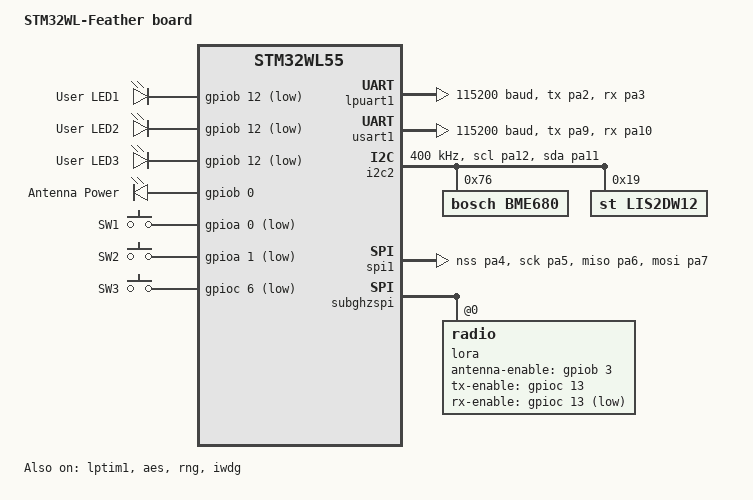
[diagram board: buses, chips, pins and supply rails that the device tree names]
/*
 * Copyright (c) 2021 PureEngineering, LLC
 *
 */

/dts-v1/;
#include <st/wl/stm32wl55Xc.dtsi>
#include <st/wl/stm32wl55ccux-pinctrl.dtsi>

/ {
	model = "STM32WL-Feather board";
	compatible = "st,stm32wl55-nucleo";

	chosen {
		zephyr,console = &lpuart1;        // Changed to lpuart for debugging purposes
		zephyr,shell-uart = &lpuart1;    // Changed to lpuart for debugging purposes
		zephyr,sram = &sram0;
		zephyr,flash = &flash0;
		zephyr,code-partition = &flash0;
	};

	leds {
		compatible = "gpio-leds";
		blue_led_1: led_0 {
			gpios = <&gpiob 12 GPIO_ACTIVE_LOW>;
			label = "User LED1";
		};
		green_led_2: led_1 {
			gpios = <&gpiob 12 GPIO_ACTIVE_LOW>;
			label = "User LED2";
		};
		green_led_3: led_2 {
			gpios = <&gpiob 12 GPIO_ACTIVE_LOW>;
			label = "User LED3";
		};

		/*
		 * Added antenna_pwr as an LED as an easy way to drive this pin high.  This pin is what turns on the antenna switch and therefore allowing operation.
		 * This is a workaround for now as it should really be defind inthe radio0 device definition however for some reason it is not driving this pin high
		 * when defining in antenna-enable-gpios so we are doing it manually here for now.
		 */
		antenna_pwr: ant_pwr {
			gpios = <&gpiob 0 GPIO_ACTIVE_HIGH>;
			label = "Antenna Power";
		};
	};

	gpio_keys {
		compatible = "gpio-keys";
		user_button_1: button_0 {
			label = "SW1";
			gpios = <&gpioa 0 (GPIO_ACTIVE_LOW | GPIO_PULL_UP)>;
		};
		user_button_2: button_1 {
			label = "SW2";
			gpios = <&gpioa 1 (GPIO_ACTIVE_LOW | GPIO_PULL_UP)>;
		};
		user_button_3: button_2 {
			label = "SW3";
			gpios = <&gpioc 6 (GPIO_ACTIVE_LOW | GPIO_PULL_UP)>;
		};
	};

	aliases {
		led0 = &green_led_2;
		system-led = &green_led_2;
		sw0 = &user_button_1;
		sw1 = &user_button_2;
		sw2 = &user_button_3;
		lora0 = &lora;
		// uart = &usart1;
		rpc-uart = &usart1;
		ant-pwr = &antenna_pwr;  // alias for antenna power control
	};

	// Remove power states for now for debugging and can bring back later
	// power-states {
		//     stop0: state0 {
			//         compatible = "zephyr,power-state";
			//         power-state-name = "suspend-to-idle";
			//         substate-id = <1>;
			//         min-residency-us = <100>;
		//     };
		//     stop1: state1 {
			//         compatible = "zephyr,power-state";
			//         power-state-name = "suspend-to-idle";
			//         substate-id = <2>;
			//         min-residency-us = <500>;
		//     };
		//     stop2: state2 {
			//         compatible = "zephyr,power-state";
			//         power-state-name = "suspend-to-idle";
			//         substate-id = <3>;
			//         min-residency-us = <900>;
		//     };
	// };
};

// &cpu0 {
	//     cpu-power-states = <&stop0 &stop1 &stop2>;
// };

&lptim1 {
	status = "okay";
};

&clk_hsi {
	status = "okay";
};

&pll {
	div-m = <1>;
	mul-n = <6>;
	div-r = <2>;
	div-q = <2>;
	clocks = <&clk_hsi>;
	status = "okay";
};

&rcc {
	clocks = <&pll>;
	clock-frequency = <DT_FREQ_M(48)>;
	cpu1-prescaler = <1>;
	cpu2-prescaler = <1>;
	ahb3-prescaler = <1>;
	apb1-prescaler = <1>;
	apb2-prescaler = <1>;
};

&lpuart1 {
	pinctrl-0 = <&lpuart1_tx_pa2 &lpuart1_rx_pa3>;
	pinctrl-names = "default";
	current-speed = <115200>;
	status = "okay";
};

&usart1 {
	pinctrl-0 = <&usart1_tx_pa9 &usart1_rx_pa10>;
	pinctrl-names = "default";
	current-speed = <115200>;
	status = "okay";
};

&i2c2 {
	pinctrl-0 = <&i2c2_scl_pa12 &i2c2_sda_pa11>;
	pinctrl-names = "default";
	status = "okay";
	clock-frequency = <I2C_BITRATE_FAST>;

	bme680: bme680@76 {
		compatible = "bosch,bme680";
		reg = <0x76>;
		// label = "BME680";
		status = "okay";
	};
	lis2dw12: lis2dw12@19 {
		compatible = "st,lis2dw12";
		reg = <0x19>;
		// label = "LIS2DW12";
		status = "okay";
	};

};

&spi1 {
	pinctrl-0 = <&spi1_nss_pa4 &spi1_sck_pa5
	&spi1_miso_pa6 &spi1_mosi_pa7>;
	pinctrl-names = "default";
	status = "okay";
};

// &adc1 {
	//     status = "okay";
// };

// &die_temp {
	//     status = "okay";
// };

&aes {
	status = "okay";
};

&rng {
	status = "okay";
};

&iwdg {
	status = "okay";
};

&subghzspi {
	status = "okay";
	lora: radio@0 {
		status = "okay";
		antenna-enable-gpios = <&gpiob 3 GPIO_ACTIVE_HIGH>; // This should be defined as gpiob 0 but it is not setting the pin high therefore we are manually driving.  See the LED definition at the top <antenna_pwr>
		tx-enable-gpios = <&gpioc 13 GPIO_ACTIVE_HIGH>;
		rx-enable-gpios = <&gpioc 13 GPIO_ACTIVE_LOW>;
		// dio3-tcxo-voltage = <SX126X_DIO3_TCXO_1V7>;
		// tcxo-power-startup-delay-ms = <5>;
		power-amplifier-output = "rfo-hp";
		rfo-lp-max-power = <15>;
		rfo-hp-max-power = <22>;
	};
};

&flash0 {
	/*
	 * For more information, see:
	 * http: //docs.zephyrproject.org/latest/guides/dts/index.html#flash-partitions
	 */
	partitions {
		compatible = "fixed-partitions";
		#address-cells = <1>;
		#size-cells = <1>;

		/*
		 * Set 16kB of storage (8x2kB pages) at the end of the 256kB of
		 * flash.
		 */
		storage_partition: partition@3c000 {
			label = "storage";
			reg = <0x0003c000 0x00004000>;
		};
	};
};
